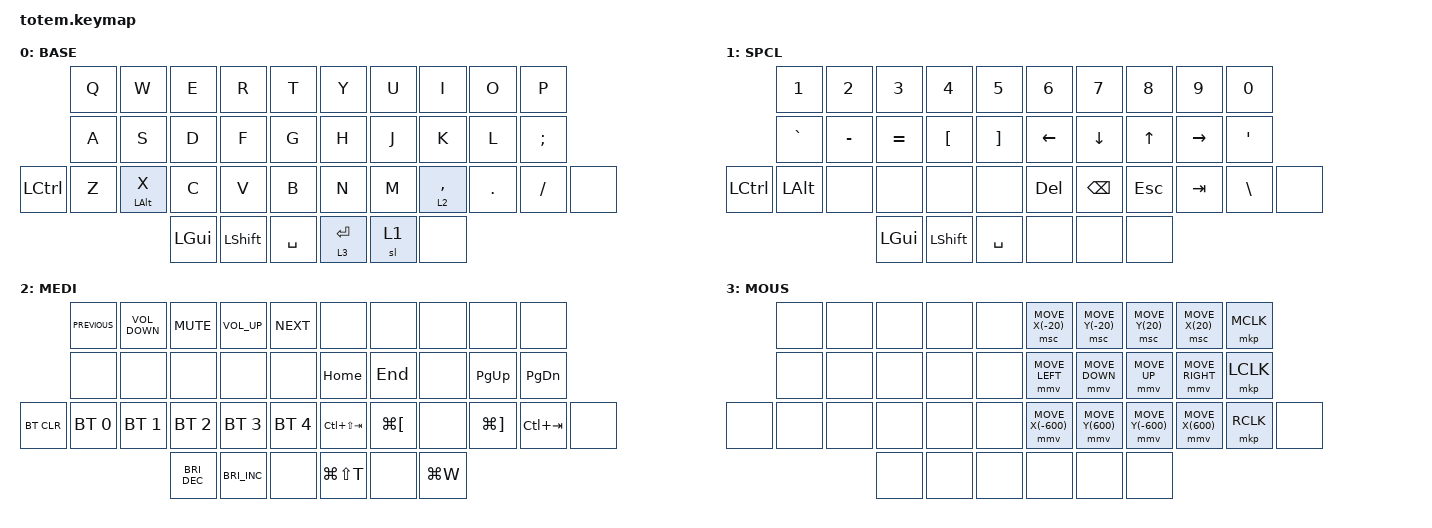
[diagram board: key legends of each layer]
//
//                                                        ▀▀▀▀▀     ▀▀▀▀▀          ▀▀█▀▀
//                                                        ▄▀▀▀▄  ▄  ▄▀▀▀▄  ▄  ▄▀▀▀▄  █  ▄▀▀▀▄
//                                                        █   █  █  █   █  █  █   █  █  █   █
//                                                         ▀▀▀   █   ▀▀▀   █   ▀▀▀   ▀   ▀▀▀
//                                                               █      ▄▄▄█▄▄▄    █   █  
//                                                               ▀      █  █  █     █▄█
//                                                             ▀▀▀▀▀    █  █  █      ▀
//                                                                      ▀  ▀  ▀
//
// ▄▄▄▄▄▄▄▄▄▄▄▄▄▄▄▄▄▄▄▄▄▄▄▄▄▄▄▄▄▄▄▄▄▄▄▄▄▄▄▄▄▄▄▄▄▄▄▄▄▄▄▄▄▄▄▄▄▄▄▄▄▄▄▄▄▄▄▄▄▄▄▄▄▄▄▄▄▄▄▄▄▄▄▄▄▄▄▄▄▄▄▄▄▄▄▄▄▄▄▄▄▄▄▄▄▄▄▄▄▄▄▄▄▄▄▄▄▄▄▄▄▄▄▄▄▄▄▄▄▄▄▄▄▄▄▄▄▄▄▄▄▄▄▄▄▄▄▄▄

#include <behaviors.dtsi>
#include <dt-bindings/zmk/bt.h>
#include <dt-bindings/zmk/keys.h>
#include <dt-bindings/zmk/pointing.h>

#define BASE 0
#define NAV  1
#define SYM  2
#define ADJ  3

&mt {
    quick-tap-ms = <100>;
    global-quick-tap;
    flavor = "tap-preferred";
    tapping-term-ms = <170>;
};

/ {
    combos {
        compatible = "zmk,combos";

        combo_esc {
            timeout-ms = <50>;
            key-positions = <0 1>;
            bindings = <&kp ESC>;
        };
    };

    macros {
        gif: gif {
            label = "giphy";
            compatible = "zmk,behavior-macro";
            #binding-cells = <0>;
            bindings =
                <&macro_press>,
                <&kp LSHFT>,
                <&macro_tap>,
                <&kp N2>,
                <&macro_release>,
                <&kp LSHFT>,
                <&macro_tap>,
                <&kp G &kp I &kp F>;
        };
    };

    keymap {
        compatible = "zmk,keymap";

        // ▄▄▄▄▄▄▄▄▄▄▄▄▄▄▄▄▄▄▄▄▄▄▄▄▄▄▄▄▄▄▄▄▄▄▄▄▄▄▄▄▄▄▄▄▄▄▄▄▄▄▄▄▄▄▄▄▄▄▄▄▄▄▄▄▄▄▄▄▄▄▄▄▄▄▄▄▄▄▄▄▄▄▄▄▄▄▄▄▄▄▄▄▄▄▄▄▄▄▄▄▄▄▄▄▄▄▄▄▄▄▄▄▄▄▄▄▄▄▄▄▄▄▄▄▄▄▄▄▄▄▄▄▄▄▄▄▄▄▄▄▄▄▄▄▄▄▄▄▄

        base_layer {
            // ┏━━━━━━━━━━━━━━━━━━━━━━━━━━━━━━━━━━━━━━━┓

            label = "BASE";

            // ┗━━━━━━━━━━━━━━━━━━━━━━━━━━━━━━━━━━━━━━━┛
            //             ┏━━━━━━━━━━━┳━━━━━━━━━━━┳━━━━━━━━━━━┳━━━━━━━━━━━┳━━━━━━━━━━━┓   ┏━━━━━━━━━━━┳━━━━━━━━━━━┳━━━━━━━━━━━┳━━━━━━━━━━━┳━━━━━━━━━━━┓
            //             ┃     Q     ┃     W     ┃     F     ┃     P     ┃     G     ┃   ┃     J     ┃     L     ┃     U     ┃     Y     ┃     ;     ┃
            //             ┣━━━━━━━━━━━╋━━━━━━━━━━━╋━━━━━━━━━━━╋━━━━━━━━━━━╋━━━━━━━━━━━┫   ┣━━━━━━━━━━━╋━━━━━━━━━━━╋━━━━━━━━━━━╋━━━━━━━━━━━╋━━━━━━━━━━━┫
            //             ┃     A     ┃     R     ┃     S     ┃     T     ┃     D     ┃   ┃     H     ┃     N     ┃     E     ┃     I     ┃     O     ┃
            // ┏━━━━━━━━━━━╋━━━━━━━━━━━╋━━━━━━━━━━━╋━━━━━━━━━━━╋━━━━━━━━━━━╋━━━━━━━━━━━┫   ┣━━━━━━━━━━━╋━━━━━━━━━━━╋━━━━━━━━━━━╋━━━━━━━━━━━╋━━━━━━━━━━━╋━━━━━━━━━━━┓
            // ┃           ┃     Z     ┃     X     ┃     C     ┃     V     ┃     B     ┃   ┃     K     ┃     M     ┃     ,     ┃     .     ┃     /     ┃           ┃
            // ┗━━━━━━━━━━━┻━━━━━━━━━━━┻━━━━━━━━━━━╋━━━━━━━━━━━╋━━━━━━━━━━━╋━━━━━━━━━━━┫   ┣━━━━━━━━━━━╋━━━━━━━━━━━╋━━━━━━━━━━━╋━━━━━━━━━━━┻━━━━━━━━━━━┻━━━━━━━━━━━┛
            //                                     ┃           ┃    TAB    ┃    SPC    ┃   ┃   ENTER   ┃   BSPC    ┃           ┃
            //                                     ┗━━━━━━━━━━━┻━━━━━━━━━━━┻━━━━━━━━━━━┛   ┗━━━━━━━━━━━┻━━━━━━━━━━━┻━━━━━━━━━━━┛

            bindings = <
                  &kp Q  &kp W       &kp E     &kp R      &kp T        &kp Y        &kp U  &kp I        &kp O    &kp P
                  &kp A  &kp S       &kp D     &kp F      &kp G        &kp H        &kp J  &kp K        &kp L    &kp SEMICOLON
&kp LEFT_CONTROL  &kp Z  &mt LALT X  &kp C     &kp V      &kp B        &kp N        &kp M  &lt 2 COMMA  &kp DOT  &kp FSLH       &none
                                     &kp LGUI  &kp LSHFT  &kp SPACE    &lt 3 ENTER  &sl 1  &none
            >;
        };

        // ▄▄▄▄▄▄▄▄▄▄▄▄▄▄▄▄▄▄▄▄▄▄▄▄▄▄▄▄▄▄▄▄▄▄▄▄▄▄▄▄▄▄▄▄▄▄▄▄▄▄▄▄▄▄▄▄▄▄▄▄▄▄▄▄▄▄▄▄▄▄▄▄▄▄▄▄▄▄▄▄▄▄▄▄▄▄▄▄▄▄▄▄▄▄▄▄▄▄▄▄▄▄▄▄▄▄▄▄▄▄▄▄▄▄▄▄▄▄▄▄▄▄▄▄▄▄▄▄▄▄▄▄▄▄▄▄▄▄▄▄▄▄▄▄▄▄▄▄▄

        special_letters_layer {
            // ┏━━━━━━━━━━━━━━━━━━━━━━━━━━━━━━━━━━━━━━━┓

            label = "SPCL";

            // ┗━━━━━━━━━━━━━━━━━━━━━━━━━━━━━━━━━━━━━━━┛
            //             ┏━━━━━━━━━━━┳━━━━━━━━━━━┳━━━━━━━━━━━┳━━━━━━━━━━━┳━━━━━━━━━━━┓   ┏━━━━━━━━━━━┳━━━━━━━━━━━┳━━━━━━━━━━━┳━━━━━━━━━━━┳━━━━━━━━━━━┓
            //             ┃           ┃           ┃     UP    ┃           ┃     {     ┃   ┃     }     ┃     7     ┃     8     ┃     9     ┃     +     ┃
            //             ┣━━━━━━━━━━━╋━━━━━━━━━━━╋━━━━━━━━━━━╋━━━━━━━━━━━╋━━━━━━━━━━━┫   ┣━━━━━━━━━━━╋━━━━━━━━━━━╋━━━━━━━━━━━╋━━━━━━━━━━━╋━━━━━━━━━━━┫
            //             ┃   SHIFT   ┃   LEFT    ┃    DOWN   ┃   RIGHT   ┃     [     ┃   ┃     ]     ┃     4     ┃     5     ┃     6     ┃     -     ┃
            // ┏━━━━━━━━━━━╋━━━━━━━━━━━╋━━━━━━━━━━━╋━━━━━━━━━━━╋━━━━━━━━━━━╋━━━━━━━━━━━┫   ┣━━━━━━━━━━━╋━━━━━━━━━━━╋━━━━━━━━━━━╋━━━━━━━━━━━╋━━━━━━━━━━━╋━━━━━━━━━━━┓
            // ┃           ┃           ┃   P UP    ┃  C LOCK   ┃  P DOWN   ┃     (     ┃   ┃     )     ┃     1     ┃     2     ┃     3     ┃     *     ┃           ┃
            // ┗━━━━━━━━━━━┻━━━━━━━━━━━┻━━━━━━━━━━━╋━━━━━━━━━━━╋━━━━━━━━━━━╋━━━━━━━━━━━┫   ┣━━━━━━━━━━━╋━━━━━━━━━━━╋━━━━━━━━━━━╋━━━━━━━━━━━┻━━━━━━━━━━━┻━━━━━━━━━━━┛
            //                                     ┃           ┃    TAB    ┃    SPC    ┃   ┃    DEL    ┃     0     ┃           ┃
            //                                     ┗━━━━━━━━━━━┻━━━━━━━━━━━┻━━━━━━━━━━━┛   ┗━━━━━━━━━━━┻━━━━━━━━━━━┻━━━━━━━━━━━┛

            bindings = <
           &kp NUMBER_1  &kp NUMBER_2  &kp NUMBER_3  &kp NUMBER_4      &kp NUMBER_5         &kp NUMBER_6  &kp N7         &kp N8   &kp N9     &kp NUMBER_0
           &kp GRAVE     &kp MINUS     &kp EQUAL     &kp LEFT_BRACKET  &kp RIGHT_BRACKET    &kp LEFT      &kp DOWN       &kp UP   &kp RIGHT  &kp SQT
&kp LCTRL  &kp LALT      &none         &none         &none             &none                &kp DELETE    &kp BACKSPACE  &kp ESC  &kp TAB    &kp BACKSLASH  &none
                                       &kp LGUI      &kp LSHFT         &kp SPACE            &none         &none          &none
            >;
        };

        // ▄▄▄▄▄▄▄▄▄▄▄▄▄▄▄▄▄▄▄▄▄▄▄▄▄▄▄▄▄▄▄▄▄▄▄▄▄▄▄▄▄▄▄▄▄▄▄▄▄▄▄▄▄▄▄▄▄▄▄▄▄▄▄▄▄▄▄▄▄▄▄▄▄▄▄▄▄▄▄▄▄▄▄▄▄▄▄▄▄▄▄▄▄▄▄▄▄▄▄▄▄▄▄▄▄▄▄▄▄▄▄▄▄▄▄▄▄▄▄▄▄▄▄▄▄▄▄▄▄▄▄▄▄▄▄▄▄▄▄▄▄▄▄▄▄▄▄▄▄

        media_layer {
            // ┏━━━━━━━━━━━━━━━━━━━━━━━━━━━━━━━━━━━━━━━┓

            label = "MEDI";

            // ┗━━━━━━━━━━━━━━━━━━━━━━━━━━━━━━━━━━━━━━━┛
            //             ┏━━━━━━━━━━━┳━━━━━━━━━━━┳━━━━━━━━━━━┳━━━━━━━━━━━┳━━━━━━━━━━━┓   ┏━━━━━━━━━━━┳━━━━━━━━━━━┳━━━━━━━━━━━┳━━━━━━━━━━━┳━━━━━━━━━━━┓
            //             ┃     !     ┃     @     ┃     #     ┃     $     ┃     %     ┃   ┃     ˆ     ┃     &     ┃     Ü     ┃     '     ┃     "     ┃
            //             ┣━━━━━━━━━━━╋━━━━━━━━━━━╋━━━━━━━━━━━╋━━━━━━━━━━━╋━━━━━━━━━━━┫   ┣━━━━━━━━━━━╋━━━━━━━━━━━╋━━━━━━━━━━━╋━━━━━━━━━━━╋━━━━━━━━━━━┫
            //             ┃     Ä     ┃           ┃    SZ     ┃           ┃           ┃   ┃   MUTE    ┃   YEN     ┃   EURO    ┃  POUND    ┃     Ö     ┃
            // ┏━━━━━━━━━━━╋━━━━━━━━━━━╋━━━━━━━━━━━╋━━━━━━━━━━━╋━━━━━━━━━━━╋━━━━━━━━━━━┫   ┣━━━━━━━━━━━╋━━━━━━━━━━━╋━━━━━━━━━━━╋━━━━━━━━━━━╋━━━━━━━━━━━╋━━━━━━━━━━━┓
            // ┃           ┃  EMAIL1   ┃  EMAIL2   ┃           ┃           ┃           ┃   ┃   VOL-    ┃   VOL+    ┃   LAST    ┃   NEXT    ┃     \     ┃           ┃
            // ┗━━━━━━━━━━━┻━━━━━━━━━━━┻━━━━━━━━━━━╋━━━━━━━━━━━╋━━━━━━━━━━━╋━━━━━━━━━━━┫   ┣━━━━━━━━━━━╋━━━━━━━━━━━╋━━━━━━━━━━━╋━━━━━━━━━━━┻━━━━━━━━━━━┻━━━━━━━━━━━┛
            //                                     ┃           ┃    GIF    ┃    ADJ    ┃   ┃           ┃           ┃           ┃
            //                                     ┗━━━━━━━━━━━┻━━━━━━━━━━━┻━━━━━━━━━━━┛   ┗━━━━━━━━━━━┻━━━━━━━━━━━┻━━━━━━━━━━━┛

            bindings = <
            &kp C_PREVIOUS  &kp C_VOLUME_DOWN  &kp K_MUTE            &kp C_VOLUME_UP       &kp C_NEXT      &none            &none                 &none      &none                  &none
            &none           &none              &none                 &none                 &none           &kp HOME         &kp END               &none      &kp PAGE_UP            &kp PAGE_DOWN
&bt BT_CLR  &bt BT_SEL 0    &bt BT_SEL 1       &bt BT_SEL 2          &bt BT_SEL 3          &bt BT_SEL 4    &kp LC(LS(TAB))  &kp LG(LEFT_BRACKET)  &none      &kp LG(RIGHT_BRACKET)  &kp LC(TAB)    &none
                                               &kp C_BRIGHTNESS_DEC  &kp C_BRIGHTNESS_INC  &none           &kp LG(LS(T))    &none                 &kp LG(W)
            >;
        };

        // ▄▄▄▄▄▄▄▄▄▄▄▄▄▄▄▄▄▄▄▄▄▄▄▄▄▄▄▄▄▄▄▄▄▄▄▄▄▄▄▄▄▄▄▄▄▄▄▄▄▄▄▄▄▄▄▄▄▄▄▄▄▄▄▄▄▄▄▄▄▄▄▄▄▄▄▄▄▄▄▄▄▄▄▄▄▄▄▄▄▄▄▄▄▄▄▄▄▄▄▄▄▄▄▄▄▄▄▄▄▄▄▄▄▄▄▄▄▄▄▄▄▄▄▄▄▄▄▄▄▄▄▄▄▄▄▄▄▄▄▄▄▄▄▄▄▄▄▄▄

        mouse_layer {
            // ┏━━━━━━━━━━━━━━━━━━━━━━━━━━━━━━━━━━━━━━━┓

            label = "MOUS";

            // ┗━━━━━━━━━━━━━━━━━━━━━━━━━━━━━━━━━━━━━━━┛
            //             ┏━━━━━━━━━━━┳━━━━━━━━━━━┳━━━━━━━━━━━┳━━━━━━━━━━━┳━━━━━━━━━━━┓   ┏━━━━━━━━━━━┳━━━━━━━━━━━┳━━━━━━━━━━━┳━━━━━━━━━━━┳━━━━━━━━━━━┓
            //             ┃   RESET   ┃ BT CLEAR  ┃  OUT TOG  ┃           ┃           ┃   ┃           ┃    F7     ┃    F8     ┃    F9     ┃    F12    ┃
            //             ┣━━━━━━━━━━━╋━━━━━━━━━━━╋━━━━━━━━━━━╋━━━━━━━━━━━╋━━━━━━━━━━━┫   ┣━━━━━━━━━━━╋━━━━━━━━━━━╋━━━━━━━━━━━╋━━━━━━━━━━━╋━━━━━━━━━━━┫
            //             ┃ BOOTLOAD  ┃ BT NEXT   ┃           ┃           ┃           ┃   ┃           ┃    F4     ┃    F5     ┃    F6     ┃    F11    ┃
            // ┏━━━━━━━━━━━╋━━━━━━━━━━━╋━━━━━━━━━━━╋━━━━━━━━━━━╋━━━━━━━━━━━╋━━━━━━━━━━━┫   ┣━━━━━━━━━━━╋━━━━━━━━━━━╋━━━━━━━━━━━╋━━━━━━━━━━━╋━━━━━━━━━━━╋━━━━━━━━━━━┓
            // ┃           ┃           ┃ BT PREV   ┃           ┃           ┃           ┃   ┃           ┃    F1     ┃    F2     ┃    F3     ┃    F10    ┃           ┃
            // ┗━━━━━━━━━━━┻━━━━━━━━━━━┻━━━━━━━━━━━╋━━━━━━━━━━━╋━━━━━━━━━━━╋━━━━━━━━━━━┫   ┣━━━━━━━━━━━╋━━━━━━━━━━━╋━━━━━━━━━━━╋━━━━━━━━━━━┻━━━━━━━━━━━┻━━━━━━━━━━━┛
            //                                     ┃           ┃           ┃           ┃   ┃           ┃           ┃           ┃
            //                                     ┗━━━━━━━━━━━┻━━━━━━━━━━━┻━━━━━━━━━━━┛   ┗━━━━━━━━━━━┻━━━━━━━━━━━┻━━━━━━━━━━━┛

            bindings = <
       &none  &none  &none  &none  &none    &msc MOVE_X(-20)   &msc MOVE_Y(-20)  &msc MOVE_Y(20)    &msc MOVE_X(20)   &mkp MCLK
       &none  &none  &none  &none  &none    &mmv MOVE_LEFT     &mmv MOVE_DOWN    &mmv MOVE_UP       &mmv MOVE_RIGHT   &mkp LCLK
&none  &none  &none  &none  &none  &none    &mmv MOVE_X(-600)  &mmv MOVE_Y(600)  &mmv MOVE_Y(-600)  &mmv MOVE_X(600)  &mkp RCLK  &none
                     &none  &none  &none    &none              &none             &none
            >;
        };
    };
};
